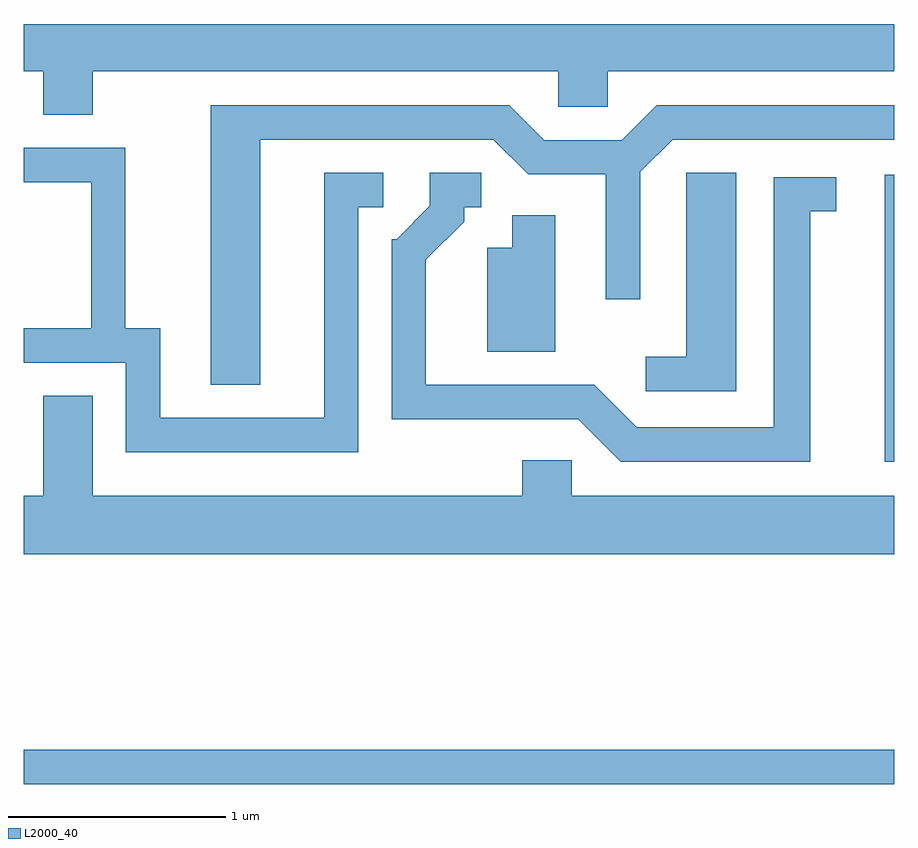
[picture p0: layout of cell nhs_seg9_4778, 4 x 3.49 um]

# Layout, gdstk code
import gdstk
lib = gdstk.Library(unit=1e-6, precision=1e-09)
def R(c, l, rs):  # rectangles x0, y0, x1, y1
    for r in rs: c.add(gdstk.rectangle(r[:2], r[2:], *l))
def P(c, l, *ps):  # polygons
    for p in ps: c.add(gdstk.Polygon(p, *l))
L2000_40 = (2000, 40)

nhs_seg9_4778 = lib.new_cell('nhs_seg9_4778')
R(nhs_seg9_4778, L2000_40, [(325.611,2032.941,329.611,2033.099), (329.566,2034.421,329.611,2035.739)])
P(nhs_seg9_4778, L2000_40, [(325.929,2036.216),(328.066,2036.216),(328.066,2036.051),(328.294,2036.051),(328.294,2036.216),(329.611,2036.216),(329.611,2036.432),(325.611,2036.432),(325.611,2036.216),(325.701,2036.216),(325.701,2036.016),(325.929,2036.016)],
  [(326.699,2035.901),(327.769,2035.901),(327.929,2035.741),(328.286,2035.741),(328.286,2035.168),(328.444,2035.168),(328.444,2035.754),(328.592,2035.901),(329.611,2035.901),(329.611,2036.059),(328.519,2036.059),(328.359,2035.899),(328.002,2035.899),(327.842,2036.059),(326.471,2036.059),(326.471,2034.776),(326.699,2034.776)],
  [(327.149,2035.591),(327.263,2035.591),(327.263,2035.749),(326.991,2035.749),(326.991,2034.624),(326.239,2034.624),(326.239,2035.034),(326.079,2035.034),(326.079,2035.864),(325.611,2035.864),(325.611,2035.706),(325.921,2035.706),(325.921,2035.034),(325.611,2035.034),(325.611,2034.876),(326.081,2034.876),(326.081,2034.466),(327.149,2034.466)],
  [(329.224,2035.571),(329.343,2035.571),(329.343,2035.729),(329.056,2035.729),(329.056,2034.579),(328.427,2034.579),(328.232,2034.774),(327.459,2034.774),(327.459,2035.349),(327.634,2035.524),(327.634,2035.591),(327.713,2035.591),(327.713,2035.749),(327.476,2035.749),(327.476,2035.597),(327.324,2035.444),(327.301,2035.444),(327.301,2034.616),(328.159,2034.616),(328.354,2034.421),(329.224,2034.421)],
  [(328.884,2035.749),(328.656,2035.749),(328.656,2034.904),(328.468,2034.904),(328.468,2034.746),(328.884,2034.746)],
  [(328.054,2035.554),(327.856,2035.554),(327.856,2035.404),(327.741,2035.404),(327.741,2034.926),(328.054,2034.926)],
  [(329.611,2034.264),(328.129,2034.264),(328.129,2034.429),(327.901,2034.429),(327.901,2034.264),(325.929,2034.264),(325.929,2034.724),(325.701,2034.724),(325.701,2034.264),(325.611,2034.264),(325.611,2033.996),(329.611,2033.996)])

lib.write_gds('nhs_seg9_4778.gds')
